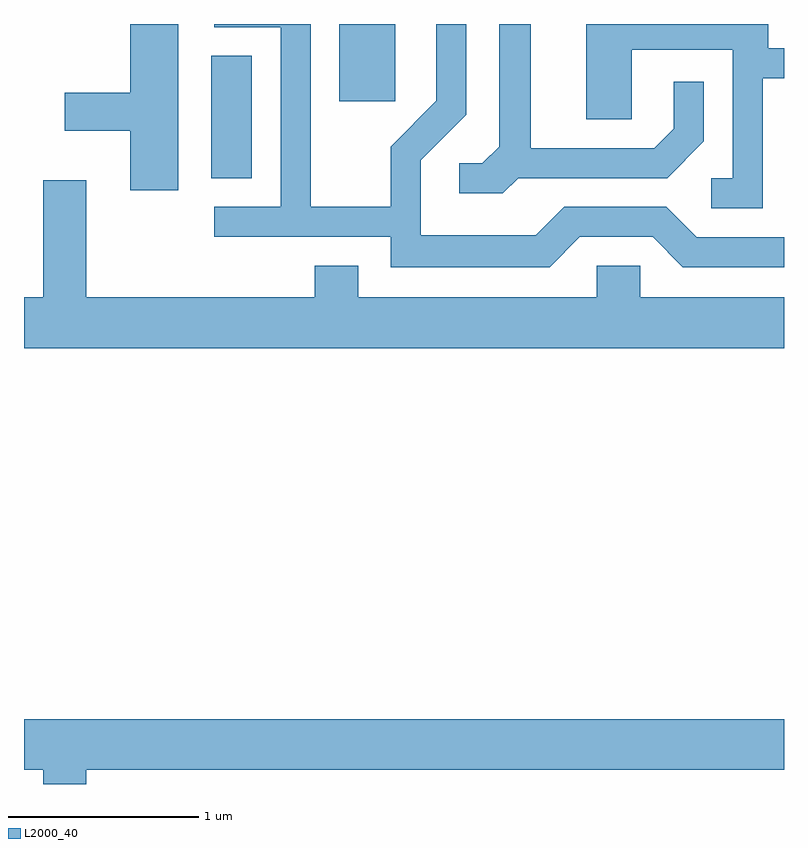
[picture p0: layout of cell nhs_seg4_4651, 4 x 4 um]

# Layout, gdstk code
import gdstk
lib = gdstk.Library(unit=1e-6, precision=1e-09)
def R(c, l, rs):  # rectangles x0, y0, x1, y1
    for r in rs: c.add(gdstk.rectangle(r[:2], r[2:], *l))
def P(c, l, *ps):  # polygons
    for p in ps: c.add(gdstk.Polygon(p, *l))
L2000_40 = (2000, 40)

nhs_seg4_4651 = lib.new_cell('nhs_seg4_4651')
R(nhs_seg4_4651, L2000_40, [(322.596,1311.171,322.809,1311.814), (323.271,1311.576,323.564,1311.982)])
P(nhs_seg4_4651, L2000_40, [(324.212,1311.171),(324.997,1311.171),(325.189,1311.364),(325.189,1311.678),(325.031,1311.678),(325.031,1311.432),(324.929,1311.329),(324.279,1311.329),(324.279,1311.982),(324.111,1311.982),(324.111,1311.337),(324.024,1311.249),(323.903,1311.249),(323.903,1311.091),(324.132,1311.091)],
  [(325.499,1311.696),(325.611,1311.696),(325.611,1311.854),(325.529,1311.854),(325.529,1311.982),(324.571,1311.982),(324.571,1311.481),(324.809,1311.481),(324.809,1311.846),(325.341,1311.846),(325.341,1311.169),(325.228,1311.169),(325.228,1311.011),(325.499,1311.011)],
  [(324.537,1310.861),(324.919,1310.861),(325.079,1310.701),(325.611,1310.701),(325.611,1310.859),(325.152,1310.859),(324.992,1311.019),(324.454,1311.019),(324.304,1310.869),(323.699,1310.869),(323.699,1311.264),(323.939,1311.504),(323.939,1311.982),(323.781,1311.982),(323.781,1311.577),(323.541,1311.337),(323.541,1311.019),(323.119,1311.019),(323.119,1311.982),(322.613,1311.982),(322.613,1311.966),(322.961,1311.966),(322.961,1311.019),(322.613,1311.019),(322.613,1310.861),(323.541,1310.861),(323.541,1310.701),(324.377,1310.701)],
  [(322.424,1311.982),(322.171,1311.982),(322.171,1311.619),(321.826,1311.619),(321.826,1311.421),(322.171,1311.421),(322.171,1311.106),(322.424,1311.106)],
  [(325.611,1310.544),(324.854,1310.544),(324.854,1310.709),(324.626,1310.709),(324.626,1310.544),(323.369,1310.544),(323.369,1310.709),(323.141,1310.709),(323.141,1310.544),(321.939,1310.544),(321.939,1311.159),(321.711,1311.159),(321.711,1310.544),(321.611,1310.544),(321.611,1310.276),(325.611,1310.276)],
  [(321.939,1308.056),(325.611,1308.056),(325.611,1308.324),(321.611,1308.324),(321.611,1308.056),(321.711,1308.056),(321.711,1307.982),(321.939,1307.982)])

lib.write_gds('nhs_seg4_4651.gds')
